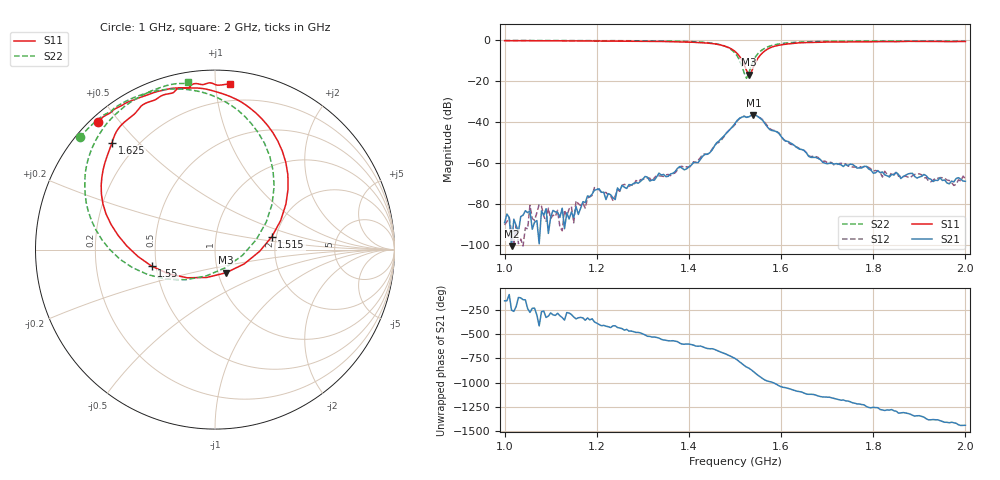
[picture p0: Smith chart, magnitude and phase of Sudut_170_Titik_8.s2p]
# Hz S RI R 50
! CMT, C1220, 16058040, 17.2.0/1
! Date: 14/08/2018 12:06:37
! Data: Format (Calibration Info)
! Freq  S11: Re/Im (F2)  S21: Re/Im (F2)  S12: Re/Im (F2)  S22: Re/Im (F2)
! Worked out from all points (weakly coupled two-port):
!   201 points, 1 GHz to 2 GHz, reference 50 ohm
!   highest |S21| = -36.49 dB at 1.54 GHz (marker M1); lowest = -100.6 dB at 1.015 GHz (marker M2)
!   lowest |S11| = -16.9 dB at 1.53 GHz (marker M3), VSWR 1.33, Z = 54.7 - j14.4 ohm
!   |S11| at or under -10 dB: 1.515 GHz to 1.547 GHz (31.26 MHz wide, 2.04 % of centre)
!   |S22| runs from -18.7 to -0.2 dB; largest |S21 - S12| = 0.00061
!   S11 on the Smith chart (normalised r, x): 1 GHz: 0.02, +0.44; 1.515 GHz: 1.89, +0.30; 1.55 GHz: 0.47, -0.10; 1.625 GHz: 0.11, +0.42; 2 GHz: 0.09, +1.09
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1e9  -0.6544 0.7097  -3.19e-05 -1.47e-05  -3.05e-05 -4.5e-06  -0.7535 0.6255
1.015e9  -0.6377 0.7222  -2.98e-06 8.89e-06  -2.02e-05 -1.55e-06  -0.7429 0.6372
1.17e9  -0.4864 0.8214  0.0001 5.44e-05  9.86e-05 3.73e-05  -0.6163 0.7515
1.195e9  -0.4499 0.8352  0.000211 -5.09e-05  0.000249 -3.93e-05  -0.5867 0.7648
1.235e9  -0.3977 0.8543  8.37e-05 -0.000116  5.61e-05 -0.00011  -0.5546 0.793
1.255e9  -0.3624 0.8668  3.56e-05 -0.000284  4.24e-05 -0.000282  -0.5287 0.8088
1.335e9  -0.2295 0.8995  -0.000567 5.65e-06  -0.000487 2.81e-05  -0.3996 0.8661
1.42e9  0.0353 0.8707  -8.97e-05 0.00102  -0.000143 0.00115  -0.1415 0.8902
1.465e9  0.2597 0.7302  0.00255 0.00229  0.00248 0.00202  0.1291 0.7755
1.5e9  0.4071 0.3383  0.00795 -0.00464  0.00746 -0.00441  0.3294 0.3523
1.515e9  0.3166 0.0716  0.00132 -0.0131  0.00168 -0.0132  0.2295 0.0549
1.525e9  0.1626 -0.0798  -0.0066 -0.0112  -0.00667 -0.0113  0.0582 -0.1012
1.53e9  0.0623 -0.1288  -0.00886 -0.0101  -0.00894 -0.0102  -0.0503 -0.1473
1.54e9  -0.1547 -0.1571  -0.0146 -0.00344  -0.0144 -0.00345  -0.274 -0.1642
1.55e9  -0.3527 -0.0923  -0.0121 0.0059  -0.0123 0.00542  -0.4594 -0.1008
1.58e9  -0.6246 0.2556  0.000739 0.00618  0.00107 0.00635  -0.7068 0.2161
1.625e9  -0.5736 0.596  0.00289 0.000199  0.00278 0.00031  -0.7011 0.5217
1.67e9  -0.4627 0.744  0.000998 -0.000944  0.00104 -0.00105  -0.6248 0.6733
1.835e9  -0.1607 0.8991  -0.000417 0.000196  -0.000427 0.000172  -0.3754 0.8745
1.9e9  -0.0697 0.9191  -5.45e-05 0.000453  4.57e-05 0.000545  -0.2836 0.9096
1.975e9  0.0464 0.9187  0.000318 0.00014  0.000277 6.3e-05  -0.1782 0.9247
2e9  0.0859 0.9209  0.000358 -1.51e-05  0.000404 -8.43e-05  -0.1506 0.9336
